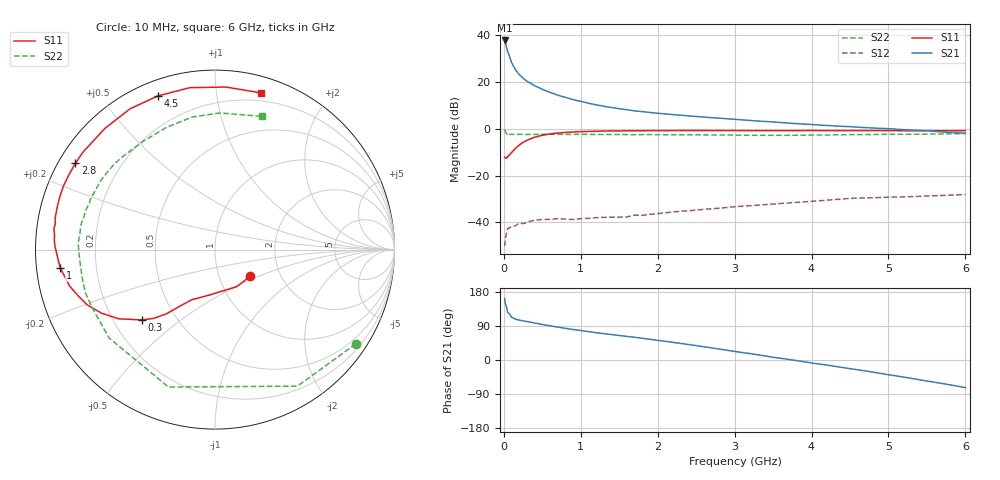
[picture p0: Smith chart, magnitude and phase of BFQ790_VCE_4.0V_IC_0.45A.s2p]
! (c) 2015  Infineon Technologies AG, Munich
! Infineon Technologies  Discrete & RF Semiconductors
! BFQ790
! VCE =  4.0 V,  IC = 0.45 A
! Common Emitter S-Parameters:  May 2015
# GHz  S  MA  R  50
!  f  S11  S21  S12  S22
! GHz  MAG  ANG  MAG  ANG  MAG  ANG  MAG  ANG
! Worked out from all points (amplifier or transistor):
!   77 points, 10 MHz to 6 GHz, reference 50 ohm
!   highest |S21| = 37.7 dB at 10 MHz (marker M1)
!   |S21| within 3 dB of that: start of sweep to 35.83 MHz
!   unconditionally stable (mu >= 1): 138.6 MHz to end of sweep
!   at 130 MHz: K = 0.95, MSG = 34.1 dB, |S12| = -41.6 dB
!   at 2.2 GHz: K = 1.39, MAG = 17.1 dB, |S12| = -35.5 dB
!   at 6 GHz: K = 1.12, MAG = 10.9 dB, |S12| = -28.1 dB
!   S11 on the Smith chart (normalised r, x): 10 MHz: 1.41, -0.44; 300 MHz: 0.32, -0.37; 1 GHz: 0.07, -0.06; 2.8 GHz: 0.05, +0.28; 4.5 GHz: 0.07, +0.69; 6 GHz: 0.13, +1.33
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0.01  0.2462 -36.9  76.89 162.1  0.0031 75.8  0.9442 -33.8
0.02  0.2394 -59.5  68.4 148.6  0.0045 58.2  0.8887 -58.9
0.05  0.2541 -96.5  44.11 125.4  0.0074 32.0  0.8084 -108.7
0.1  0.309 -115.1  25.72 112.6  0.0081 19.6  0.7686 -140.2
0.15  0.3779 -122.4  18.25 107.7  0.0085 22.2  0.7566 -154.3
0.2  0.4486 -127.1  14.39 105.3  0.0096 22.6  0.761 -161.5
0.25  0.5126 -131.7  12.03 103.2  0.0094 20.9  0.7576 -166.2
0.3  0.5663 -136.2  10.37 101.5  0.01 18.4  0.7551 -169.9
0.4  0.6607 -144.3  8.305 97.5  0.0112 17.5  0.7556 -175.0
0.5  0.7255 -150.8  6.941 93.8  0.0115 14.3  0.7583 -178.7
0.6  0.7764 -156.7  5.98 90.3  0.0116 16.7  0.7617 178.3
0.8  0.8349 -165.9  4.675 83.6  0.0118 11.8  0.7579 173.8
1  0.8672 -173.1  3.838 77.8  0.012 14.2  0.7598 170.2
1.1  0.8762 -176.4  3.512 74.8  0.0122 16.9  0.7582 168.4
1.5  0.898 174.6  2.678 64.7  0.0129 17.9  0.752 162.6
2.1  0.9112 163.4  2.071 49.3  0.016 20.9  0.744 153.8
2.8  0.9141 148.3  1.68 28.8  0.0201 12.6  0.7364 139.6
3.1  0.9111 141.4  1.546 19.8  0.0222 9.9  0.7273 133.1
4.1  0.9131 119.0  1.201 -10.6  0.0289 -5.1  0.7335 109.2
4.5  0.9134 110.4  1.108 -22.9  0.0326 -12.5  0.7494 99.8
5.1  0.9084 96.3  0.979 -41.9  0.0348 -26.0  0.7609 86.0
6  0.9099 73.6  0.8 -73.0  0.0394 -47.3  0.7876 70.4
